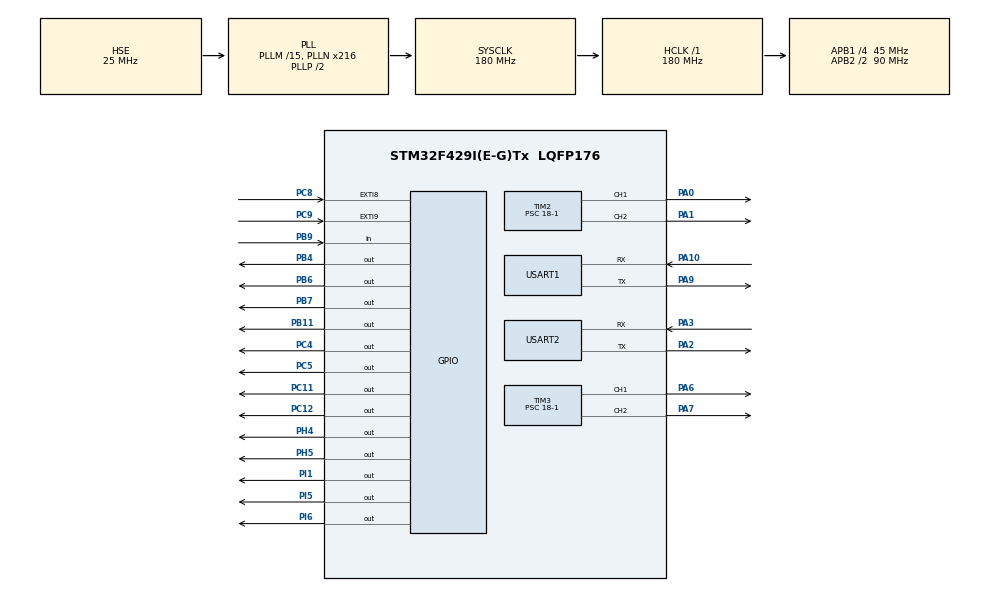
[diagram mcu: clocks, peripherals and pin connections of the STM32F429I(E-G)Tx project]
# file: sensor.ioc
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Dma.Request0=USART1_TX
Dma.Request1=USART1_RX
Dma.Request2=USART2_RX
Dma.Request3=USART2_TX
Dma.USART1_RX.1.Direction=DMA_PERIPH_TO_MEMORY
Dma.USART1_RX.1.FIFOMode=DMA_FIFOMODE_DISABLE
Dma.USART1_RX.1.Instance=DMA2_Stream2
Dma.USART1_RX.1.MemDataAlignment=DMA_MDATAALIGN_BYTE
Dma.USART1_RX.1.MemInc=DMA_MINC_ENABLE
Dma.USART1_RX.1.Mode=DMA_NORMAL
Dma.USART1_RX.1.PeriphDataAlignment=DMA_PDATAALIGN_BYTE
Dma.USART1_RX.1.PeriphInc=DMA_PINC_DISABLE
Dma.USART1_RX.1.Priority=DMA_PRIORITY_LOW
Dma.USART1_TX.0.Direction=DMA_MEMORY_TO_PERIPH
Dma.USART1_TX.0.FIFOMode=DMA_FIFOMODE_DISABLE
Dma.USART1_TX.0.Instance=DMA2_Stream7
Dma.USART1_TX.0.MemDataAlignment=DMA_MDATAALIGN_BYTE
Dma.USART1_TX.0.MemInc=DMA_MINC_ENABLE
Dma.USART1_TX.0.Mode=DMA_NORMAL
Dma.USART1_TX.0.PeriphDataAlignment=DMA_PDATAALIGN_BYTE
Dma.USART1_TX.0.PeriphInc=DMA_PINC_DISABLE
Dma.USART1_TX.0.Priority=DMA_PRIORITY_LOW
Dma.USART2_RX.2.Direction=DMA_PERIPH_TO_MEMORY
Dma.USART2_RX.2.FIFOMode=DMA_FIFOMODE_DISABLE
Dma.USART2_RX.2.Instance=DMA1_Stream5
Dma.USART2_RX.2.MemDataAlignment=DMA_MDATAALIGN_BYTE
Dma.USART2_RX.2.MemInc=DMA_MINC_ENABLE
Dma.USART2_RX.2.Mode=DMA_NORMAL
Dma.USART2_RX.2.PeriphDataAlignment=DMA_PDATAALIGN_BYTE
Dma.USART2_RX.2.PeriphInc=DMA_PINC_DISABLE
Dma.USART2_RX.2.Priority=DMA_PRIORITY_LOW
Dma.USART2_TX.3.Direction=DMA_MEMORY_TO_PERIPH
Dma.USART2_TX.3.FIFOMode=DMA_FIFOMODE_DISABLE
Dma.USART2_TX.3.Instance=DMA1_Stream6
Dma.USART2_TX.3.MemDataAlignment=DMA_MDATAALIGN_BYTE
Dma.USART2_TX.3.MemInc=DMA_MINC_ENABLE
Dma.USART2_TX.3.Mode=DMA_NORMAL
Dma.USART2_TX.3.PeriphDataAlignment=DMA_PDATAALIGN_BYTE
Dma.USART2_TX.3.PeriphInc=DMA_PINC_DISABLE
Dma.USART2_TX.3.Priority=DMA_PRIORITY_LOW
Mcu.Family=STM32F4
Mcu.Name=STM32F429I(E-G)Tx
Mcu.Package=LQFP176
NVIC.DMA1_Stream5_IRQn=true\:0\:0\:false\:false\:true\:false\:true\:true
NVIC.DMA1_Stream6_IRQn=true\:0\:0\:false\:false\:true\:false\:true\:true
NVIC.DMA2_Stream2_IRQn=true\:0\:0\:false\:false\:true\:false\:true\:true
NVIC.DMA2_Stream7_IRQn=true\:0\:0\:false\:false\:true\:false\:true\:true
NVIC.EXTI9_5_IRQn=true\:0\:0\:false\:false\:true\:true\:true\:true
NVIC.PriorityGroup=NVIC_PRIORITYGROUP_4
NVIC.TIM6_DAC_IRQn=true\:0\:0\:false\:false\:true\:true\:true\:true
NVIC.USART1_IRQn=true\:0\:0\:false\:false\:true\:true\:true\:true
NVIC.USART2_IRQn=true\:0\:0\:false\:false\:true\:true\:true\:true
PA0/WKUP.Signal=S_TIM2_CH1_ETR
PA1.Signal=S_TIM2_CH2
PA10.Mode=Asynchronous
PA10.Signal=USART1_RX
PA13.Mode=Serial_Wire
PA13.Signal=SYS_JTMS-SWDIO
PA14.Mode=Serial_Wire
PA14.Signal=SYS_JTCK-SWCLK
PA2.Mode=Asynchronous
PA2.Signal=USART2_TX
PA3.Mode=Asynchronous
PA3.Signal=USART2_RX
PA6.Signal=S_TIM3_CH1
PA7.Signal=S_TIM3_CH2
PA9.Mode=Asynchronous
PA9.Signal=USART1_TX
PB11.Signal=GPIO_Output
PB4.Signal=GPIO_Output
PB6.GPIO_ModeDefaultOutputPP=GPIO_MODE_OUTPUT_OD
PB6.GPIO_PuPd=GPIO_PULLUP
PB6.PinState=GPIO_PIN_SET
PB6.Signal=GPIO_Output
PB7.GPIO_ModeDefaultOutputPP=GPIO_MODE_OUTPUT_OD
PB7.GPIO_PuPd=GPIO_PULLUP
PB7.Signal=GPIO_Output
PB9.GPIO_PuPd=GPIO_PULLUP
PB9.Signal=GPIO_Input
PC11.GPIO_PuPd=GPIO_NOPULL
PC11.Signal=GPIO_Output
PC12.GPIO_PuPd=GPIO_NOPULL
PC12.Signal=GPIO_Output
PC4.Signal=GPIO_Output
PC5.Signal=GPIO_Output
PC8.GPIO_ModeDefaultEXTI=GPIO_MODE_IT_RISING
PC8.GPIO_PuPd=GPIO_PULLDOWN
PC8.Signal=GPXTI8
PC9.GPIO_PuPd=GPIO_PULLDOWN
PC9.Signal=GPXTI9
PH0/OSC_IN.Mode=HSE-External-Oscillator
PH0/OSC_IN.Signal=RCC_OSC_IN
PH1/OSC_OUT.Mode=HSE-External-Oscillator
PH1/OSC_OUT.Signal=RCC_OSC_OUT
PH4.PinState=GPIO_PIN_RESET
PH4.Signal=GPIO_Output
PH5.Signal=GPIO_Output
PI1.Signal=GPIO_Output
PI5.Signal=GPIO_Output
PI6.Signal=GPIO_Output
ProjectManager.HeapSize=0x200
ProjectManager.StackSize=0x400
ProjectManager.TargetToolchain=MDK-ARM V5
RCC.48MHZClocksFreq_Value=90000000
RCC.AHBFreq_Value=180000000
RCC.APB1CLKDivider=RCC_HCLK_DIV4
RCC.APB1Freq_Value=45000000
RCC.APB1TimFreq_Value=90000000
RCC.APB2CLKDivider=RCC_HCLK_DIV2
RCC.APB2Freq_Value=90000000
RCC.APB2TimFreq_Value=180000000
RCC.CortexFreq_Value=180000000
RCC.HCLKFreq_Value=180000000
RCC.HSE_VALUE=25000000
RCC.HSI_VALUE=16000000
RCC.LSE_VALUE=32768
RCC.PLLM=15
RCC.PLLN=216
RCC.PLLSourceVirtual=RCC_PLLSOURCE_HSE
RCC.SYSCLKFreq_VALUE=180000000
RCC.SYSCLKSource=RCC_SYSCLKSOURCE_PLLCLK
RCC.VCOOutputFreq_Value=360000000
SH.S_TIM2_CH1_ETR.0=TIM2_CH1,PWM Generation1 CH1
SH.S_TIM2_CH2.0=TIM2_CH2,PWM Generation2 CH2
SH.S_TIM3_CH1.0=TIM3_CH1,PWM Generation1 CH1
SH.S_TIM3_CH2.0=TIM3_CH2,PWM Generation2 CH2
TIM2.Channel-PWM\ Generation1\ CH1=TIM_CHANNEL_1
TIM2.Channel-PWM\ Generation2\ CH2=TIM_CHANNEL_2
TIM2.Period=100-1
TIM2.Prescaler=18-1
TIM3.Channel-PWM\ Generation1\ CH1=TIM_CHANNEL_1
TIM3.Channel-PWM\ Generation2\ CH2=TIM_CHANNEL_2
TIM3.Period=100-1
TIM3.Prescaler=18-1
TIM6.Period=10000-1
TIM6.Prescaler=18000-1
USART1.VirtualMode=VM_ASYNC
USART2.VirtualMode=VM_ASYNC
VP_TIM6_VS_ClockSourceINT.Mode=Enable_Timer
board=custom

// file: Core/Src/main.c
/* USER CODE BEGIN Header */
/**
  ******************************************************************************
  * @file           : main.c
  * @brief          : Main program body
  ******************************************************************************
  * @attention
  *
  * Copyright (c) 2024 STMicroelectronics.
  * All rights reserved.
  *
  * This software is licensed under terms that can be found in the LICENSE file
  * in the root directory of this software component.
  * If no LICENSE file comes with this software, it is provided AS-IS.
  *
  ******************************************************************************
  */
/* USER CODE END Header */
#include "main.h"
#include "dma.h"
#include "tim.h"
#include "usart.h"
#include "gpio.h"

/* USER CODE BEGIN Includes */
#include "headfile.h"
#include "json2data.h"

/* USER CODE END Includes */

/* USER CODE BEGIN PM */
void move_proc(void);
void celiang_proc(void);
void yizhu_proc(void);
void Box_proc(void);
void sensor_proc(void);
/* USER CODE END PM */

/* USER CODE BEGIN PV */
	int L610_sta = 0;
	ParsedData cmd;

	bool celiang_flag = 0;//测量是否开启标志位
	float temp;//测量的体温
	int32_t HR_Value,BO_Value;//心率和血氧的值
  int8_t HR_Valid,BO_Valid;//心率血氧值是否有效
	int max30102_data[6][2] = {0};//存心血氧模块的寄存器数据，不用管
	uint32_t avg_HR_VAL[128],avg_HR,AHV_p,BOV_p,TEMP_p;//求传感器平均值
	float avg_BO_VAL[128],avg_BO ,avg_temp;

	extern char *strx;
	char RxBuffer[250];//L610接收缓冲区
	char RxBuffer2[30];//串口屏接收缓冲区

	char* last_yizhu;
/* USER CODE END PV */

void SystemClock_Config(void);

/* USER CODE BEGIN 0 */

//以下数据均不用管
uint32_t aun_ir_buffer[500]; //IR LED sensor data
uint16_t n_ir_buffer_length;    //data length
uint32_t aun_red_buffer[500];    //Red LED sensor data
int16_t n_sp02; //SPO2 value
int8_t ch_spo2_valid;   //indicator to show if the SP02 calculation is valid
int16_t n_heart_rate;   //heart rate value
int8_t  ch_hr_valid;    //indicator to show if the heart rate calculation is valid

char txBuffer2[30];

/* USER CODE END 0 */

int main(void)
{

  /* USER CODE BEGIN 1 */
	int32_t HR_Value,BO_Value;
  int8_t HR_Valid,BO_Valid;
  /* USER CODE END 1 */

  /* MCU Configuration--------------------------------------------------------*/

  /* Reset of all peripherals, Initializes the Flash interface and the Systick. */
  HAL_Init();

  /* Configure the system clock */
  SystemClock_Config();

  /* Initialize all configured peripherals */
  MX_GPIO_Init();
  MX_DMA_Init();
  MX_USART1_UART_Init();
  MX_TIM2_Init();
  MX_TIM3_Init();
  MX_USART2_UART_Init();
  MX_TIM6_Init();
  /* USER CODE BEGIN 2 */
	HAL_TIM_PWM_Start(&htim2,TIM_CHANNEL_1);
	HAL_TIM_PWM_Start(&htim2,TIM_CHANNEL_2);
	HAL_TIM_PWM_Start(&htim3,TIM_CHANNEL_1);
	HAL_TIM_PWM_Start(&htim3,TIM_CHANNEL_2);
	HAL_UARTEx_ReceiveToIdle_IT(&huart1,(uint8_t*)RxBuffer,sizeof(RxBuffer));
	HAL_UARTEx_ReceiveToIdle_IT(&huart2,(uint8_t*)RxBuffer2,sizeof(RxBuffer2));
	HAL_TIM_Base_Init(&htim6);
	max30102_init();
	HAL_Delay(4000);
  /* USER CODE END 2 */

  /* Infinite loop */
  while (1)
  {

    /* USER CODE BEGIN 3 */
		//L610初始化
		if(L610_sta<=4){
			L610_HW_init();
			if(L610_sta == 4){
				sprintf(txBuffer2,"j0.val=100\xff\xff\xff");
				HAL_UART_Transmit(&huart2,(uint8_t*)txBuffer2,strlen(txBuffer2),1000);
				HAL_UART_Transmit(&huart2,(uint8_t*)txBuffer2,strlen(txBuffer2),1000);
				HAL_UART_Transmit(&huart2,(uint8_t*)txBuffer2,strlen(txBuffer2),1000);
			}

		}
		else{

			if(L610_sta == 5){
				sprintf(txBuffer2,"j0.val=100\xff\xff\xff");
				HAL_UART_Transmit(&huart2,(uint8_t*)txBuffer2,strlen(txBuffer2),1000);
				L610_sta  = 6;
			}
			//进度条
			//printf("%d",cmd.move);

			//工作进程
			move_proc();
			yizhu_proc();
			Box_proc();

			if(celiang_flag == 1){
				cmd.move = 0;
				move_proc();
				sensor_proc();
			}

		}

	}
  /* USER CODE END 3 */
}

void SystemClock_Config(void)
{
  RCC_OscInitTypeDef RCC_OscInitStruct = {0};
  RCC_ClkInitTypeDef RCC_ClkInitStruct = {0};

  /** Configure the main internal regulator output voltage
  */
  __HAL_RCC_PWR_CLK_ENABLE();
  __HAL_PWR_VOLTAGESCALING_CONFIG(PWR_REGULATOR_VOLTAGE_SCALE1);

  /** Initializes the RCC Oscillators according to the specified parameters
  * in the RCC_OscInitTypeDef structure.
  */
  RCC_OscInitStruct.OscillatorType = RCC_OSCILLATORTYPE_HSE;
  RCC_OscInitStruct.HSEState = RCC_HSE_ON;
  RCC_OscInitStruct.PLL.PLLState = RCC_PLL_ON;
  RCC_OscInitStruct.PLL.PLLSource = RCC_PLLSOURCE_HSE;
  RCC_OscInitStruct.PLL.PLLM = 15;
  RCC_OscInitStruct.PLL.PLLN = 216;
  RCC_OscInitStruct.PLL.PLLP = RCC_PLLP_DIV2;
  RCC_OscInitStruct.PLL.PLLQ = 4;
  if (HAL_RCC_OscConfig(&RCC_OscInitStruct) != HAL_OK)
  {
    Error_Handler();
  }

  /** Activate the Over-Drive mode
  */
  if (HAL_PWREx_EnableOverDrive() != HAL_OK)
  {
    Error_Handler();
  }

  /** Initializes the CPU, AHB and APB buses clocks
  */
  RCC_ClkInitStruct.ClockType = RCC_CLOCKTYPE_HCLK|RCC_CLOCKTYPE_SYSCLK
                              |RCC_CLOCKTYPE_PCLK1|RCC_CLOCKTYPE_PCLK2;
  RCC_ClkInitStruct.SYSCLKSource = RCC_SYSCLKSOURCE_PLLCLK;
  RCC_ClkInitStruct.AHBCLKDivider = RCC_SYSCLK_DIV1;
  RCC_ClkInitStruct.APB1CLKDivider = RCC_HCLK_DIV4;
  RCC_ClkInitStruct.APB2CLKDivider = RCC_HCLK_DIV2;

  if (HAL_RCC_ClockConfig(&RCC_ClkInitStruct, FLASH_LATENCY_5) != HAL_OK)
  {
    Error_Handler();
  }
}

/* USER CODE BEGIN 4 */

void sensor_proc(void){

	//测温度
	int i = 10;

	while(i>0){
		temp = GY906_ReadTemp();
		//printf("%.1f\n",temp);
		sprintf(txBuffer2,"x0.val=%d\xff\xff\xff",(int)(temp*1.2f*10));
		HAL_UART_Transmit(&huart2,(uint8_t*)txBuffer2,strlen(txBuffer2),1000);
		HW_HMSUB_1_temp("Whisp_dev1",temp*1.2f);

		//测血氧
		Max30102_Calculate_HR_BO_Value(&HR_Value,&HR_Valid,&BO_Value,&BO_Valid);
		//printf("%.1f %d %d %d %d\n",temp,HR_Value,HR_Valid,BO_Value,BO_Valid);
		//求均值
		if(HR_Valid && BO_Valid){
			avg_HR_VAL[AHV_p] = HR_Value;
			avg_BO_VAL[BOV_p] = BO_Value;

			avg_HR += avg_HR_VAL[AHV_p];
			avg_BO += avg_BO_VAL[BOV_p];

			BOV_p++;
			AHV_p++;

			i--;
		}
	}
	int H = avg_HR/10;
	if(H > 100) H = 76;

	HW_HMSUB_1("Whisp_dev1",temp*1.2f,H,avg_BO/10);//(不上云会卡死)
	sprintf(txBuffer2,"x0.val=%d\xff\xff\xff",(int)(temp*1.2f*10));
	HAL_UART_Transmit(&huart2,(uint8_t*)txBuffer2,strlen(txBuffer2),1000);

	sprintf(txBuffer2,"n1.val=%d\xff\xff\xff",(int)H);
	HAL_UART_Transmit(&huart2,(uint8_t*)txBuffer2,strlen(txBuffer2),1000);

	sprintf(txBuffer2,"n2.val=%d\xff\xff\xff",(int)avg_BO/10);
	HAL_UART_Transmit(&huart2,(uint8_t*)txBuffer2,strlen(txBuffer2),1000);

	avg_HR = 0;
	avg_BO = 0;
	BOV_p = 0;
	AHV_p = 0;
	celiang_flag = 0;
}

void move_proc(void){

		if(cmd.move == 4){
			Move_forward(50);
		}
		else if(cmd.move == 2){
			Turn_right(50);
		}
		else if(cmd.move == 3){
			Turn_left(50);
		}
		else if(cmd.move == 1){
			Move_back(50);

		}
		else{
			Car_stop();
		}

}
void yizhu_proc(void){

	sprintf(txBuffer2,"t0.txt=\"%s\"\xff\xff\xff",cmd.yizhu);
	HAL_UART_Transmit(&huart2,(uint8_t*)txBuffer2,strlen(txBuffer2),1000);
	last_yizhu = cmd.yizhu;

}
void Box_proc(void){

	if(cmd.Box1==0)		HAL_GPIO_WritePin(GPIOC,GPIO_PIN_11,GPIO_PIN_RESET);
	else	HAL_GPIO_WritePin(GPIOC,GPIO_PIN_11,GPIO_PIN_SET);

	if(cmd.Box2==0)		HAL_GPIO_WritePin(GPIOC,GPIO_PIN_12,GPIO_PIN_RESET);
	else	HAL_GPIO_WritePin(GPIOC,GPIO_PIN_12,GPIO_PIN_SET);
}

int fputc(int ch, FILE *f)

{

  HAL_UART_Transmit(&huart1, (uint8_t *)&ch, 1, 0xffff);

  return ch;

}

/* USER CODE END 4 */

void Error_Handler(void)
{
  __disable_irq();
  while (1)
  {
  }
}
